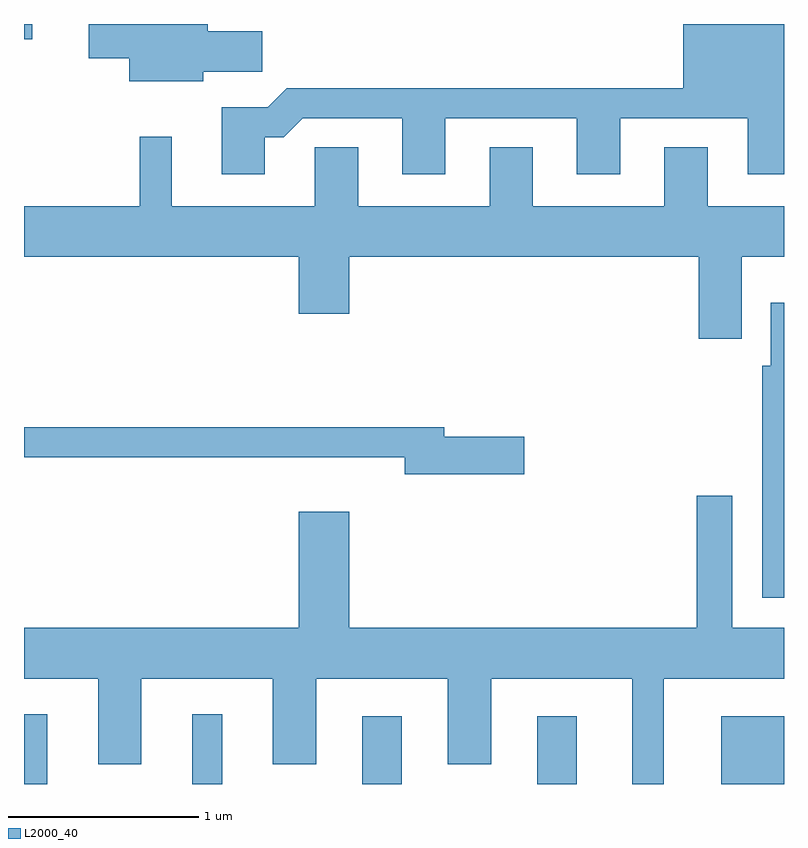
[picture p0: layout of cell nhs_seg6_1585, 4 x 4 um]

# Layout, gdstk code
import gdstk
lib = gdstk.Library(unit=1e-6, precision=1e-09)
def R(c, l, rs):  # rectangles x0, y0, x1, y1
    for r in rs: c.add(gdstk.rectangle(r[:2], r[2:], *l))
def P(c, l, *ps):  # polygons
    for p in ps: c.add(gdstk.Polygon(p, *l))
L2000_40 = (2000, 40)

nhs_seg6_1585 = lib.new_cell('nhs_seg6_1585')
R(nhs_seg6_1585, L2000_40, [(233.611,1536.162,233.734,1536.528), (234.496,1536.162,234.654,1536.528), (235.391,1536.162,235.599,1536.519), (236.311,1536.162,236.519,1536.519), (237.281,1536.162,237.611,1536.519), (233.611,1540.081,233.654,1540.162)])
P(nhs_seg6_1585, L2000_40, [(234.554,1539.911),(234.864,1539.911),(234.864,1540.124),(234.579,1540.124),(234.579,1540.162),(233.951,1540.162),(233.951,1539.981),(234.166,1539.981),(234.166,1539.861),(234.554,1539.861)],
  [(234.879,1539.566),(234.977,1539.566),(235.077,1539.666),(235.601,1539.666),(235.601,1539.371),(235.829,1539.371),(235.829,1539.666),(236.521,1539.666),(236.521,1539.371),(236.749,1539.371),(236.749,1539.666),(237.421,1539.666),(237.421,1539.371),(237.611,1539.371),(237.611,1540.162),(237.081,1540.162),(237.081,1539.824),(234.994,1539.824),(234.894,1539.724),(234.651,1539.724),(234.651,1539.371),(234.879,1539.371)],
  [(237.389,1538.936),(237.611,1538.936),(237.611,1539.204),(237.209,1539.204),(237.209,1539.514),(236.981,1539.514),(236.981,1539.204),(236.289,1539.204),(236.289,1539.514),(236.061,1539.514),(236.061,1539.204),(235.369,1539.204),(235.369,1539.514),(235.141,1539.514),(235.141,1539.204),(234.389,1539.204),(234.389,1539.568),(234.221,1539.568),(234.221,1539.204),(233.611,1539.204),(233.611,1538.936),(235.056,1538.936),(235.056,1538.636),(235.324,1538.636),(235.324,1538.936),(237.161,1538.936),(237.161,1538.506),(237.389,1538.506)],
  [(237.611,1538.694),(237.541,1538.694),(237.541,1538.364),(237.496,1538.364),(237.496,1537.141),(237.611,1537.141)],
  [(236.244,1537.989),(235.824,1537.989),(235.824,1538.039),(233.611,1538.039),(233.611,1537.881),(235.616,1537.881),(235.616,1537.791),(236.244,1537.791)],
  [(236.979,1536.716),(237.611,1536.716),(237.611,1536.984),(237.339,1536.984),(237.339,1537.679),(237.151,1537.679),(237.151,1536.984),(235.324,1536.984),(235.324,1537.594),(235.056,1537.594),(235.056,1536.984),(233.611,1536.984),(233.611,1536.716),(234.001,1536.716),(234.001,1536.266),(234.229,1536.266),(234.229,1536.716),(234.921,1536.716),(234.921,1536.266),(235.149,1536.266),(235.149,1536.716),(235.841,1536.716),(235.841,1536.266),(236.069,1536.266),(236.069,1536.716),(236.811,1536.716),(236.811,1536.162),(236.979,1536.162)])

lib.write_gds('nhs_seg6_1585.gds')
